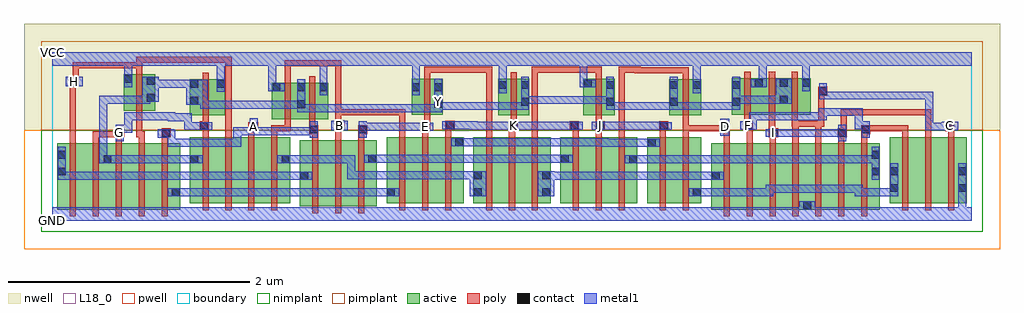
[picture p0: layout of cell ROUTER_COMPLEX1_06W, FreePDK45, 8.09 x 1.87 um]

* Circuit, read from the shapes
.subckt ROUTER_COMPLEX1_06W A B C D E F G GND H I J K VCC Y
M1 n1 H n2 VSUBS nfet w=0.55u l=0.05u
M2 Y G n1 VSUBS nfet w=0.55u l=0.05u
M3 n3 G Y VSUBS nfet w=0.55u l=0.05u
M4 n4 H n3 VSUBS nfet w=0.55u l=0.05u
M5 n5 A n4 VSUBS nfet w=0.55u l=0.05u
M6 n6 G Y VSUBS nfet w=0.55u l=0.05u
M7 n7 H n6 VSUBS nfet w=0.55u l=0.05u
M8 n8 A n7 VSUBS nfet w=0.55u l=0.05u
M9 n9 B n8 VSUBS nfet w=0.55u l=0.05u
M10 n10 A n2 VSUBS nfet w=0.55u l=0.05u
M11 n11 B n10 VSUBS nfet w=0.55u l=0.05u
M12 n12 E n11 VSUBS nfet w=0.55u l=0.05u
M13 n13 B n5 VSUBS nfet w=0.55u l=0.05u
M14 n14 E n13 VSUBS nfet w=0.55u l=0.05u
M15 n15 K n14 VSUBS nfet w=0.55u l=0.05u
M16 n16 E n9 VSUBS nfet w=0.55u l=0.05u
M17 n17 K n16 VSUBS nfet w=0.55u l=0.05u
M18 n18 J n17 VSUBS nfet w=0.55u l=0.05u
M19 n19 K n12 VSUBS nfet w=0.55u l=0.05u
M20 n20 J n19 VSUBS nfet w=0.55u l=0.05u
M21 n21 D n20 VSUBS nfet w=0.55u l=0.05u
M22 n22 J n15 VSUBS nfet w=0.55u l=0.05u
M23 n23 D n22 VSUBS nfet w=0.55u l=0.05u
M24 n24 D n18 VSUBS nfet w=0.55u l=0.05u
M25 n25 F n24 VSUBS nfet w=0.55u l=0.05u
M26 n26 I n25 VSUBS nfet w=0.55u l=0.05u
M27 GND C n26 VSUBS nfet w=0.55u l=0.05u
M28 n27 C GND VSUBS nfet w=0.55u l=0.05u
M29 n28 I n27 VSUBS nfet w=0.55u l=0.05u
M30 n21 F n28 VSUBS nfet w=0.55u l=0.05u
M31 n29 F n23 VSUBS nfet w=0.55u l=0.05u
M32 n30 I n29 VSUBS nfet w=0.55u l=0.05u
M33 GND C n30 VSUBS nfet w=0.55u l=0.05u
M34 Y H VCC n31 pfet w=0.3u l=0.05u
M35 VCC G Y n31 pfet w=0.3u l=0.05u
M36 Y B VCC n31 pfet w=0.3u l=0.05u
M37 VCC A Y n31 pfet w=0.3u l=0.05u
M38 Y E VCC n31 pfet w=0.3u l=0.05u
M39 Y K VCC n31 pfet w=0.3u l=0.05u
M40 Y J VCC n31 pfet w=0.3u l=0.05u
M41 VCC D Y n31 pfet w=0.3u l=0.05u
M42 VCC F Y n31 pfet w=0.3u l=0.05u
M43 Y I VCC n31 pfet w=0.3u l=0.05u
M44 VCC C Y n31 pfet w=0.3u l=0.05u
.ends

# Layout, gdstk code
import gdstk
lib = gdstk.Library(unit=1e-6, precision=1e-09)
def R(c, l, rs):  # rectangles x0, y0, x1, y1
    for r in rs: c.add(gdstk.rectangle(r[:2], r[2:], *l))
def A(c, l, x, y, w, h, nx, ny, dx, dy):  # array of equal rectangles
    R(c, l, [(x+i*dx, y+j*dy, x+i*dx+w, y+j*dy+h) for i in range(nx) for j in range(ny)])
active = (1, 0)
pwell = (2, 0)
nwell = (3, 0)
nimplant = (4, 0)
pimplant = (5, 0)
poly = (9, 0)
contact = (10, 0)
metal1 = (11, 0)
L18_0 = (18, 0)
boundary = (235, 0)

router_complex1_06w = lib.new_cell('ROUTER_COMPLEX1_06W')
A(router_complex1_06w, active, 1.895, 0.145, 0.075, 0.55, 3, 1, 1.44, 0)
A(router_complex1_06w, active, 2.995, 0.145, 0.19, 0.55, 3, 1, 0.72, 0)
R(router_complex1_06w, active, [(0.04,0.092,0.265,0.642), (0.265,0.092,0.495,0.642), (0.42,0.092,0.645,0.642), (0.645,0.092,0.835,0.642), (0.835,0.092,1.06,0.642), (5.46,0.092,5.685,0.642), (5.685,0.092,5.875,0.642), (5.875,0.092,6.065,0.642), (6.065,0.092,6.295,0.642), (6.22,0.092,6.445,0.642), (6.22,0.092,6.295,0.527), (6.445,0.092,6.635,0.642), (6.635,0.092,6.86,0.642), (2.05,0.12,2.275,0.67), (2.275,0.12,2.465,0.67), (2.465,0.12,2.69,0.67), (0.04,0.145,0.145,0.642), (0.42,0.145,0.495,0.642), (0.985,0.145,1.06,0.435), (1.14,0.145,1.365,0.695), (1.14,0.145,1.245,0.695), (1.365,0.145,1.555,0.695), (1.555,0.145,1.745,0.695), (1.745,0.145,1.97,0.695), (2.05,0.145,2.155,0.67), (2.615,0.145,2.69,0.67), (2.77,0.145,2.995,0.695), (2.77,0.145,2.875,0.435), (3.185,0.145,3.41,0.695), (3.49,0.145,3.715,0.695), (3.49,0.145,3.595,0.435), (3.905,0.145,4.13,0.695), (4.055,0.145,4.13,0.642), (4.21,0.145,4.435,0.695), (4.21,0.145,4.315,0.695), (4.625,0.145,4.85,0.695), (4.93,0.145,5.155,0.695), (4.93,0.145,5.035,0.695), (5.155,0.145,5.38,0.695), (5.305,0.145,5.38,0.642), (5.46,0.145,5.565,0.642), (6.785,0.145,6.86,0.642), (6.94,0.145,7.165,0.695), (6.94,0.145,7.045,0.695), (7.165,0.145,7.355,0.695), (7.355,0.145,7.58,0.695), (7.505,0.145,7.58,0.695), (1.82,0.845,2.1,1.145), (2.025,0.845,2.285,1.145), (1.14,0.875,1.215,1.175), (1.14,0.875,1.432,1.175), (5.112,0.875,5.187,1.165), (5.112,0.875,5.38,1.175), (5.305,0.875,5.38,1.175), (3.695,0.877,3.955,1.177), (3.88,0.877,3.955,1.165), (4.4,0.877,4.66,1.177), (4.585,0.877,4.66,1.177), (2.977,0.88,3.237,1.18), (3.162,0.88,3.237,1.147), (1.357,0.882,1.432,1.175), (2.21,0.882,2.285,1.145), (5.632,0.882,5.892,1.182), (5.632,0.882,5.707,1.165), (5.817,0.882,6.1,1.182), (6.025,0.882,6.285,1.182), (6.21,0.882,6.285,1.182), (0.592,0.915,0.852,1.215), (2.025,0.93,2.1,1.145), (0.592,0.952,0.667,1.215), (0.777,0.952,0.852,1.2), (1.82,0.952,1.895,1.145), (2.977,0.952,3.052,1.18), (3.695,0.952,3.77,1.165), (4.4,0.952,4.475,1.177), (6.025,0.952,6.1,1.182), (5.817,1.007,5.892,1.18)])
R(router_complex1_06w, pwell, [(-0.235,-0.235,7.855,0.75)])
R(router_complex1_06w, nwell, [(-0.235,0.75,7.855,1.635)])
R(router_complex1_06w, nimplant, [(-0.09,-0.09,7.71,0.75)])
R(router_complex1_06w, pimplant, [(-0.09,0.75,7.71,1.49)])
A(router_complex1_06w, poly, 0.145, 0.037, 0.05, 0.66, 5, 1, 0.19, 0)
A(router_complex1_06w, poly, 5.565, 0.037, 0.05, 0.66, 7, 1, 0.19, 0)
A(router_complex1_06w, poly, 2.155, 0.065, 0.05, 0.66, 3, 1, 0.19, 0)
A(router_complex1_06w, poly, 1.245, 0.09, 0.05, 0.66, 4, 1, 0.19, 0)
A(router_complex1_06w, poly, 2.875, 0.09, 0.05, 0.66, 3, 1, 0.19, 0)
A(router_complex1_06w, poly, 3.595, 0.09, 0.05, 0.66, 3, 1, 0.19, 0)
A(router_complex1_06w, poly, 4.315, 0.09, 0.05, 0.66, 3, 1, 0.19, 0)
A(router_complex1_06w, poly, 7.045, 0.09, 0.05, 0.66, 3, 1, 0.19, 0)
A(router_complex1_06w, poly, 0.335, 0.647, 0.05, 0.095, 4, 1, 0.19, 0)
R(router_complex1_06w, poly, [(5.035,0.09,5.085,0.75), (5.225,0.09,5.275,0.75), (0.145,0.647,0.195,1.175), (5.565,0.647,5.615,0.785), (5.755,0.647,5.805,0.807), (5.945,0.647,5.995,0.742), (6.135,0.647,6.185,0.832), (6.325,0.647,6.375,0.832), (6.515,0.647,6.565,0.742), (6.705,0.647,6.755,0.77), (2.155,0.675,2.205,0.77), (2.345,0.675,2.395,0.81), (2.535,0.675,2.585,0.77), (0.335,0.692,0.385,0.742), (0.335,0.692,0.385,0.742), (0.335,0.692,0.385,0.742), (0.335,0.692,0.572,0.742), (0.522,0.692,0.597,0.767), (0.697,0.692,0.747,0.91), (0.697,0.692,0.765,0.742), (0.905,0.692,0.98,0.767), (5.94,0.692,6.017,0.767), (6.51,0.692,6.585,0.767), (1.245,0.7,1.295,0.8), (1.435,0.7,1.485,1.362), (1.625,0.7,1.675,0.795), (1.815,0.7,1.865,0.795), (2.875,0.7,2.925,0.927), (3.065,0.7,3.115,0.795), (3.255,0.7,3.305,0.805), (3.595,0.7,3.645,1.28), (3.785,0.7,3.835,0.802), (3.975,0.7,4.025,1.277), (4.315,0.7,4.365,0.802), (4.505,0.7,4.555,0.802), (4.695,0.7,4.745,1.277), (5.035,0.7,5.085,0.8), (5.225,0.7,5.275,0.795), (7.045,0.7,7.095,0.795), (7.235,0.7,7.285,0.927), (7.425,0.7,7.475,0.795), (5.94,0.717,5.99,0.877), (6.535,0.717,6.585,0.767), (6.535,0.717,6.585,0.767), (6.535,0.717,6.585,0.927), (2.13,0.72,2.205,0.795), (2.535,0.72,2.61,0.795), (6.705,0.72,6.78,0.795), (5.54,0.735,5.615,0.81), (1.625,0.745,1.707,0.82), (1.815,0.745,1.975,0.795), (1.925,0.745,1.975,0.84), (2.13,0.745,2.18,0.84), (3.052,0.745,3.132,0.82), (5.225,0.745,5.275,0.795), (5.225,0.745,5.457,0.795), (5.225,0.745,5.275,0.87), (5.407,0.745,5.457,0.795), (5.407,0.745,5.59,0.795), (5.54,0.745,5.59,0.795), (5.54,0.745,5.59,0.795), (6.73,0.745,6.78,0.795), (6.73,0.745,6.78,0.795), (6.73,0.745,7.095,0.795), (7.045,0.745,7.095,0.795), (7.045,0.745,7.095,0.795), (7.045,0.745,7.095,0.795), (7.402,0.745,7.477,0.82), (1.22,0.75,1.295,0.825), (5.03,0.75,5.105,0.825), (3.782,0.752,3.857,0.827), (4.29,0.752,4.365,0.827), (4.505,0.752,4.58,0.827), (3.255,0.755,3.335,0.83), (5.732,0.757,5.807,0.832), (2.345,0.76,2.42,0.835), (3.082,0.77,3.132,0.875), (1.245,0.775,1.295,0.87), (3.8,0.777,3.85,0.872), (4.505,0.777,4.555,0.872), (5.737,0.782,5.787,0.877), (6.13,0.782,6.18,0.877), (6.13,0.782,6.185,0.832), (6.135,0.782,6.185,0.832), (6.135,0.782,6.185,0.832), (6.135,0.782,6.375,0.832), (6.325,0.782,6.375,0.832), (6.325,0.782,6.375,0.832), (6.325,0.782,6.4,0.832), (6.35,0.782,6.4,1.087), (2.345,0.785,2.395,0.927), (1.925,0.79,1.975,1.2), (2.13,0.79,2.18,1.2), (1.245,0.82,1.295,1.23), (5.225,0.82,5.275,1.23), (3.8,0.822,3.85,1.232), (4.505,0.822,4.555,1.232), (3.082,0.825,3.132,1.235), (5.737,0.827,5.787,1.237), (5.94,0.827,5.99,1.237), (6.13,0.827,6.18,1.237), (0.697,0.86,0.747,1.27), (2.345,0.877,2.395,0.927), (2.345,0.877,2.395,0.927), (2.345,0.877,2.395,0.927), (2.345,0.877,2.395,0.927), (2.345,0.877,2.395,0.927), (2.345,0.877,2.395,0.927), (2.345,0.877,2.395,0.927), (2.345,0.877,2.792,0.927), (2.345,0.877,2.395,1.332), (2.742,0.877,2.792,0.927), (2.742,0.877,2.792,0.927), (2.742,0.877,2.792,0.927), (2.742,0.877,2.925,0.927), (2.875,0.877,2.925,0.927), (2.875,0.877,2.925,0.927), (2.875,0.877,2.925,0.927), (2.875,0.877,2.925,0.927), (2.875,0.877,2.925,0.927), (2.875,0.877,2.925,0.927), (2.875,0.877,2.925,0.927), (6.535,0.877,6.585,0.927), (6.535,0.877,6.585,0.927), (6.535,0.877,6.585,0.927), (6.535,0.877,6.962,0.927), (6.912,0.877,6.962,0.927), (6.912,0.877,6.962,0.927), (6.912,0.877,6.962,0.927), (6.912,0.877,7.152,0.927), (7.102,0.877,7.152,0.927), (7.102,0.877,7.152,0.927), (7.102,0.877,7.152,0.927), (7.102,0.877,7.285,0.927), (7.235,0.877,7.285,0.927), (7.235,0.877,7.285,0.927), (7.235,0.877,7.285,0.927), (7.235,0.877,7.285,0.927), (7.235,0.877,7.285,0.927), (7.235,0.877,7.285,0.927), (7.235,0.877,7.285,0.927), (6.35,1.037,6.425,1.112), (0.145,1.125,0.22,1.2), (0.17,1.15,0.22,1.315), (1.925,1.15,1.975,1.332), (5.225,1.18,5.275,1.275), (4.505,1.182,4.555,1.277), (3.082,1.185,3.132,1.28), (0.697,1.22,0.747,1.315), (4.827,1.225,5.01,1.275), (4.827,1.225,4.877,1.277), (4.96,1.225,5.01,1.275), (4.96,1.225,5.01,1.275), (4.96,1.225,5.01,1.275), (4.96,1.225,5.01,1.275), (4.96,1.225,5.01,1.275), (4.96,1.225,5.275,1.275), (5.225,1.225,5.275,1.275), (5.225,1.225,5.275,1.275), (5.225,1.225,5.275,1.275), (3.975,1.227,4.025,1.277), (3.975,1.227,4.025,1.277), (3.975,1.227,4.025,1.277), (3.975,1.227,4.025,1.277), (3.975,1.227,4.025,1.277), (3.975,1.227,4.025,1.277), (3.975,1.227,4.025,1.277), (3.975,1.227,4.16,1.277), (4.11,1.227,4.16,1.277), (4.11,1.227,4.16,1.277), (4.11,1.227,4.16,1.277), (4.11,1.227,4.16,1.277), (4.11,1.227,4.16,1.277), (4.11,1.227,4.16,1.277), (4.11,1.227,4.16,1.277), (4.11,1.227,4.555,1.277), (4.505,1.227,4.555,1.277), (4.505,1.227,4.555,1.277), (4.505,1.227,4.555,1.277), (4.695,1.227,4.745,1.277), (4.695,1.227,4.745,1.277), (4.695,1.227,4.745,1.277), (4.695,1.227,4.745,1.277), (4.695,1.227,4.745,1.277), (4.695,1.227,4.745,1.277), (4.695,1.227,4.745,1.277), (4.695,1.227,4.877,1.277), (3.082,1.23,3.132,1.28), (3.082,1.23,3.132,1.28), (3.082,1.23,3.132,1.28), (3.082,1.23,3.265,1.28), (3.215,1.23,3.265,1.28), (3.215,1.23,3.265,1.28), (3.215,1.23,3.265,1.28), (3.215,1.23,3.645,1.28), (3.595,1.23,3.645,1.28), (3.595,1.23,3.645,1.28), (3.595,1.23,3.645,1.28), (3.595,1.23,3.645,1.28), (3.595,1.23,3.645,1.28), (3.595,1.23,3.645,1.28), (3.595,1.23,3.645,1.28), (3.595,1.23,3.645,1.28), (3.595,1.23,3.645,1.28), (3.595,1.23,3.645,1.28), (3.595,1.23,3.645,1.28), (0.17,1.265,0.22,1.315), (0.17,1.265,0.22,1.315), (0.17,1.265,0.22,1.315), (0.17,1.265,0.22,1.315), (0.17,1.265,0.22,1.315), (0.17,1.265,0.22,1.315), (0.17,1.265,0.22,1.315), (0.17,1.265,0.22,1.315), (0.17,1.265,0.22,1.315), (0.17,1.265,0.352,1.315), (0.302,1.265,0.352,1.315), (0.302,1.265,0.352,1.315), (0.302,1.265,0.352,1.315), (0.302,1.265,0.615,1.315), (0.565,1.265,0.615,1.315), (0.565,1.265,0.615,1.315), (0.565,1.265,0.615,1.315), (0.565,1.265,0.747,1.315), (0.697,1.265,0.747,1.315), (0.697,1.265,0.747,1.315), (0.697,1.265,0.747,1.362), (1.925,1.282,1.975,1.332), (1.925,1.282,1.975,1.332), (1.925,1.282,1.975,1.332), (1.925,1.282,2.107,1.332), (2.057,1.282,2.107,1.332), (2.057,1.282,2.107,1.332), (2.057,1.282,2.107,1.332), (2.057,1.282,2.24,1.332), (2.19,1.282,2.24,1.332), (2.19,1.282,2.395,1.332), (2.345,1.282,2.395,1.332), (0.697,1.312,1.137,1.362), (1.087,1.312,1.137,1.362), (1.087,1.312,1.137,1.362), (1.087,1.312,1.137,1.362), (1.087,1.312,1.352,1.362), (1.302,1.312,1.352,1.362), (1.302,1.312,1.352,1.362), (1.302,1.312,1.352,1.362), (1.302,1.312,1.485,1.362), (1.435,1.312,1.485,1.362), (1.435,1.312,1.485,1.362), (1.435,1.312,1.485,1.362), (1.435,1.312,1.485,1.362), (1.435,1.312,1.485,1.362), (1.435,1.312,1.485,1.362), (1.435,1.312,1.485,1.362), (1.435,1.312,1.485,1.362), (1.435,1.312,1.485,1.362), (1.435,1.312,1.485,1.362), (1.435,1.312,1.485,1.362)])
R(router_complex1_06w, contact, [(6.225,0.097,6.29,0.162), (0.99,0.205,1.055,0.27), (2.775,0.205,2.84,0.27), (3.495,0.205,3.56,0.27), (4.06,0.205,4.125,0.27), (5.31,0.205,5.375,0.27), (6.945,0.24,7.01,0.305), (7.51,0.24,7.575,0.305), (2.055,0.342,2.12,0.407), (5.465,0.342,5.53,0.407), (3.495,0.345,3.56,0.41), (4.06,0.345,4.125,0.41), (0.045,0.377,0.11,0.442), (6.79,0.377,6.855,0.442), (6.945,0.38,7.01,0.445), (7.51,0.38,7.575,0.445), (0.425,0.48,0.49,0.545), (1.145,0.48,1.21,0.545), (1.9,0.48,1.965,0.545), (4.78,0.48,4.845,0.545), (2.62,0.482,2.685,0.547), (4.215,0.482,4.28,0.547), (0.045,0.517,0.11,0.582), (6.79,0.517,6.855,0.582), (4.935,0.617,5,0.682), (3.34,0.62,3.405,0.685), (0.527,0.697,0.592,0.762), (0.91,0.697,0.975,0.762), (5.947,0.697,6.012,0.762), (6.515,0.697,6.58,0.762), (2.135,0.725,2.2,0.79), (2.54,0.725,2.605,0.79), (6.71,0.725,6.775,0.79), (5.545,0.74,5.61,0.805), (1.637,0.75,1.702,0.815), (3.057,0.75,3.122,0.815), (7.407,0.75,7.472,0.815), (1.225,0.755,1.29,0.82), (5.035,0.755,5.1,0.82), (3.787,0.757,3.852,0.822), (4.295,0.757,4.36,0.822), (4.51,0.757,4.575,0.822), (3.265,0.76,3.33,0.825), (5.737,0.762,5.802,0.827), (2.35,0.765,2.415,0.83), (2.03,0.935,2.095,1), (3.167,0.937,3.232,1.002), (3.885,0.955,3.95,1.02), (4.59,0.955,4.655,1.02), (5.117,0.955,5.182,1.02), (5.637,0.955,5.702,1.02), (1.145,0.965,1.21,1.03), (6.03,0.972,6.095,1.037), (0.782,0.99,0.847,1.055), (6.355,1.042,6.42,1.107), (1.825,1.075,1.89,1.14), (2.03,1.075,2.095,1.14), (2.215,1.075,2.28,1.14), (2.982,1.077,3.047,1.142), (3.167,1.077,3.232,1.142), (3.7,1.095,3.765,1.16), (3.885,1.095,3.95,1.16), (4.59,1.095,4.655,1.16), (5.117,1.095,5.182,1.16), (5.31,1.095,5.375,1.16), (5.637,1.095,5.702,1.16), (1.145,1.105,1.21,1.17), (1.362,1.105,1.427,1.17), (4.405,1.107,4.47,1.172), (5.822,1.11,5.887,1.175), (6.03,1.112,6.095,1.177), (6.215,1.112,6.28,1.177), (0.15,1.13,0.215,1.195), (0.782,1.13,0.847,1.195), (0.597,1.145,0.662,1.21)])
R(router_complex1_06w, metal1, [(0,0,7.62,0.115), (6.26,0.05,6.325,0.162), (7.51,0.05,7.575,0.27), (6.19,0.097,6.325,0.162), (0.955,0.205,1.09,0.27), (1.025,0.205,1.29,0.27), (1.225,0.205,1.29,0.27), (1.225,0.205,1.29,0.27), (1.225,0.205,1.29,0.27), (1.225,0.205,1.427,0.27), (1.362,0.205,1.427,0.27), (1.362,0.205,1.565,0.27), (1.5,0.205,1.565,0.27), (1.5,0.205,1.565,0.27), (1.5,0.205,1.565,0.27), (1.5,0.205,1.702,0.27), (1.637,0.205,1.702,0.27), (1.637,0.205,1.702,0.27), (1.637,0.205,1.702,0.27), (1.637,0.205,1.947,0.27), (1.882,0.205,1.947,0.27), (1.882,0.205,1.947,0.27), (1.882,0.205,1.947,0.27), (1.882,0.205,2.137,0.27), (2.072,0.205,2.137,0.27), (2.072,0.205,2.137,0.27), (2.072,0.205,2.137,0.27), (2.072,0.205,2.292,0.27), (2.227,0.205,2.292,0.27), (2.227,0.205,2.292,0.27), (2.227,0.205,2.292,0.27), (2.227,0.205,2.512,0.27), (2.447,0.205,2.512,0.27), (2.447,0.205,2.512,0.27), (2.447,0.205,2.512,0.27), (2.447,0.205,2.805,0.27), (2.74,0.205,2.805,0.27), (2.74,0.205,2.805,0.27), (2.74,0.205,2.875,0.27), (3.46,0.205,3.595,0.41), (4.025,0.205,4.16,0.41), (5.275,0.205,5.41,0.27), (5.345,0.205,5.457,0.27), (5.392,0.205,5.457,0.27), (5.392,0.205,5.602,0.27), (5.537,0.205,5.602,0.27), (5.537,0.205,5.602,0.27), (5.537,0.205,5.602,0.27), (5.537,0.205,5.84,0.27), (5.775,0.205,5.84,0.27), (5.775,0.205,5.84,0.27), (5.775,0.205,5.84,0.27), (5.775,0.205,5.977,0.27), (5.912,0.205,5.977,0.27), (5.912,0.205,5.977,0.27), (5.912,0.205,5.977,0.3), (6.652,0.205,6.717,0.27), (6.652,0.205,6.717,0.27), (6.652,0.205,7.01,0.27), (6.652,0.205,6.717,0.3), (6.945,0.205,7.01,0.48), (6.945,0.205,7.01,0.27), (6.945,0.205,7.01,0.27), (7.51,0.205,7.575,0.48), (5.912,0.235,6.197,0.3), (6.132,0.235,6.197,0.3), (6.132,0.235,6.197,0.3), (6.132,0.235,6.197,0.3), (6.132,0.235,6.367,0.3), (6.302,0.235,6.367,0.3), (6.302,0.235,6.367,0.3), (6.302,0.235,6.367,0.3), (6.302,0.235,6.58,0.3), (6.515,0.235,6.58,0.3), (6.515,0.235,6.717,0.3), (0.045,0.342,0.11,0.617), (0.045,0.342,0.11,0.407), (0.045,0.342,0.11,0.407), (0.045,0.342,0.317,0.407), (0.252,0.342,0.317,0.407), (0.252,0.342,0.317,0.407), (0.252,0.342,0.317,0.407), (0.252,0.342,0.525,0.407), (0.46,0.342,0.525,0.407), (0.46,0.342,0.662,0.407), (0.597,0.342,0.662,0.407), (0.597,0.342,0.662,0.407), (0.597,0.342,0.662,0.407), (0.597,0.342,0.8,0.407), (0.735,0.342,0.8,0.407), (0.735,0.342,0.8,0.407), (0.735,0.342,0.8,0.407), (0.735,0.342,1.02,0.407), (0.955,0.342,1.02,0.407), (0.955,0.342,1.02,0.407), (0.955,0.342,1.02,0.407), (0.955,0.342,1.157,0.407), (1.092,0.342,1.157,0.407), (1.092,0.342,1.427,0.407), (1.362,0.342,1.427,0.407), (1.362,0.342,1.427,0.407), (1.362,0.342,1.427,0.407), (1.362,0.342,1.565,0.407), (1.5,0.342,1.565,0.407), (1.5,0.342,1.565,0.407), (1.5,0.342,1.565,0.407), (1.5,0.342,1.702,0.407), (1.637,0.342,1.702,0.407), (1.637,0.342,1.702,0.407), (1.637,0.342,1.702,0.407), (1.637,0.342,1.84,0.407), (1.775,0.342,1.84,0.407), (1.775,0.342,1.84,0.407), (1.775,0.342,1.84,0.407), (1.775,0.342,2.085,0.407), (2.02,0.342,2.155,0.407), (4.095,0.342,4.297,0.407), (4.232,0.342,4.297,0.407), (4.232,0.342,4.297,0.407), (4.232,0.342,4.297,0.407), (4.232,0.342,4.472,0.407), (4.407,0.342,4.472,0.407), (4.407,0.342,4.61,0.407), (4.545,0.342,4.61,0.407), (4.545,0.342,4.61,0.407), (4.545,0.342,4.61,0.407), (4.545,0.342,4.792,0.407), (4.727,0.342,4.792,0.407), (4.727,0.342,4.792,0.407), (4.727,0.342,4.792,0.407), (4.727,0.342,5.017,0.407), (4.952,0.342,5.017,0.407), (4.952,0.342,5.017,0.407), (4.952,0.342,5.017,0.407), (4.952,0.342,5.182,0.407), (5.117,0.342,5.182,0.407), (5.117,0.342,5.32,0.407), (5.255,0.342,5.32,0.407), (5.255,0.342,5.32,0.407), (5.255,0.342,5.32,0.407), (5.255,0.342,5.495,0.407), (5.43,0.342,5.565,0.407), (6.79,0.342,6.855,0.617), (2.445,0.345,2.51,0.41), (2.445,0.345,2.51,0.41), (2.445,0.345,2.51,0.41), (2.445,0.345,2.742,0.41), (2.445,0.345,2.51,0.545), (2.677,0.345,2.742,0.41), (2.677,0.345,2.742,0.41), (2.677,0.345,2.742,0.41), (2.677,0.345,2.942,0.41), (2.877,0.345,2.942,0.41), (2.877,0.345,2.942,0.41), (2.877,0.345,2.942,0.41), (2.877,0.345,3.08,0.41), (3.015,0.345,3.08,0.41), (3.015,0.345,3.232,0.41), (3.167,0.345,3.232,0.41), (3.167,0.345,3.232,0.41), (3.167,0.345,3.232,0.41), (3.167,0.345,3.525,0.41), (3.46,0.345,3.525,0.41), (3.46,0.345,3.525,0.41), (0.39,0.48,0.455,0.545), (0.39,0.48,0.455,0.545), (0.39,0.48,0.525,0.545), (0.39,0.48,0.455,1.037), (0.46,0.48,0.525,0.545), (0.46,0.48,0.525,0.545), (0.46,0.48,0.525,0.545), (0.46,0.48,0.525,0.545), (0.46,0.48,0.662,0.545), (0.597,0.48,0.662,0.545), (0.597,0.48,0.802,0.545), (0.737,0.48,0.802,0.545), (0.737,0.48,0.802,0.545), (0.737,0.48,0.802,0.545), (0.737,0.48,1.02,0.545), (0.955,0.48,1.02,0.545), (0.955,0.48,1.02,0.545), (0.955,0.48,1.02,0.545), (0.955,0.48,1.175,0.545), (1.11,0.48,1.245,0.545), (1.865,0.48,2,0.545), (1.935,0.48,2.142,0.545), (2.077,0.48,2.142,0.545), (2.077,0.48,2.142,0.545), (2.077,0.48,2.142,0.545), (2.077,0.48,2.372,0.545), (2.307,0.48,2.372,0.545), (2.307,0.48,2.372,0.545), (2.307,0.48,2.372,0.545), (2.307,0.48,2.51,0.545), (2.445,0.48,2.51,0.545), (4.745,0.48,4.88,0.545), (4.815,0.48,5.045,0.545), (4.98,0.48,5.045,0.545), (4.98,0.48,5.182,0.545), (5.117,0.48,5.182,0.545), (5.117,0.48,5.182,0.545), (5.117,0.48,5.182,0.545), (5.117,0.48,5.32,0.545), (5.255,0.48,5.32,0.545), (5.255,0.48,5.457,0.545), (5.392,0.48,5.457,0.545), (5.392,0.48,5.457,0.545), (5.392,0.48,5.457,0.545), (5.392,0.48,5.63,0.545), (5.565,0.48,5.63,0.545), (5.565,0.48,5.63,0.545), (5.565,0.48,5.63,0.545), (5.565,0.48,5.84,0.545), (5.775,0.48,5.84,0.545), (5.775,0.48,5.84,0.545), (5.775,0.48,5.84,0.545), (5.775,0.48,6.06,0.545), (5.995,0.48,6.06,0.545), (5.995,0.48,6.06,0.545), (5.995,0.48,6.06,0.545), (5.995,0.48,6.197,0.545), (6.132,0.48,6.197,0.545), (6.132,0.48,6.197,0.545), (6.132,0.48,6.197,0.545), (6.132,0.48,6.367,0.545), (6.302,0.48,6.367,0.545), (6.302,0.48,6.367,0.545), (6.302,0.48,6.367,0.545), (6.302,0.48,6.58,0.545), (6.515,0.48,6.58,0.545), (6.515,0.48,6.58,0.545), (6.515,0.48,6.58,0.545), (6.515,0.48,6.855,0.545), (6.79,0.48,6.855,0.545), (6.79,0.48,6.855,0.545), (2.585,0.482,2.72,0.547), (2.655,0.482,2.742,0.547), (2.677,0.482,2.742,0.547), (2.677,0.482,2.942,0.547), (2.877,0.482,2.942,0.547), (2.877,0.482,2.942,0.547), (2.877,0.482,2.942,0.547), (2.877,0.482,3.082,0.547), (3.017,0.482,3.082,0.547), (3.017,0.482,3.232,0.547), (3.167,0.482,3.232,0.547), (3.167,0.482,3.232,0.547), (3.167,0.482,3.232,0.547), (3.167,0.482,3.525,0.547), (3.46,0.482,3.525,0.547), (3.46,0.482,3.525,0.547), (3.46,0.482,3.525,0.547), (3.46,0.482,3.662,0.547), (3.597,0.482,3.662,0.547), (3.597,0.482,3.662,0.547), (3.597,0.482,3.662,0.547), (3.597,0.482,3.8,0.547), (3.735,0.482,3.8,0.547), (3.735,0.482,3.8,0.547), (3.735,0.482,3.8,0.547), (3.735,0.482,4.087,0.547), (4.022,0.482,4.087,0.547), (4.022,0.482,4.087,0.547), (4.022,0.482,4.087,0.547), (4.022,0.482,4.245,0.547), (4.18,0.482,4.315,0.547), (0.955,0.617,1.02,0.682), (0.955,0.617,1.02,0.755), (0.955,0.617,1.29,0.682), (1.225,0.617,1.29,0.682), (1.225,0.617,1.29,0.682), (1.225,0.617,1.29,0.682), (1.225,0.617,1.427,0.682), (1.362,0.617,1.427,0.682), (1.362,0.617,1.565,0.682), (1.5,0.617,1.565,0.682), (1.5,0.617,1.565,0.682), (1.5,0.617,1.565,0.682), (1.5,0.617,1.565,0.777), (4.545,0.617,4.827,0.682), (4.545,0.617,4.61,0.685), (4.762,0.617,4.827,0.682), (4.762,0.617,4.827,0.682), (4.762,0.617,4.827,0.682), (4.762,0.617,4.965,0.682), (4.9,0.617,5.035,0.682), (3.305,0.62,3.44,0.685), (3.375,0.62,3.525,0.685), (3.46,0.62,3.525,0.685), (3.46,0.62,3.662,0.685), (3.597,0.62,3.662,0.685), (3.597,0.62,3.662,0.685), (3.597,0.62,3.662,0.685), (3.597,0.62,3.95,0.685), (3.885,0.62,3.95,0.685), (3.885,0.62,3.95,0.685), (3.885,0.62,3.95,0.685), (3.885,0.62,4.087,0.685), (4.022,0.62,4.087,0.685), (4.022,0.62,4.087,0.685), (4.022,0.62,4.087,0.685), (4.022,0.62,4.297,0.685), (4.232,0.62,4.297,0.685), (4.232,0.62,4.297,0.685), (4.232,0.62,4.297,0.685), (4.232,0.62,4.472,0.685), (4.407,0.62,4.472,0.685), (4.407,0.62,4.61,0.685), (4.545,0.62,4.61,0.685), (4.545,0.62,4.61,0.685), (0.527,0.662,0.592,0.797), (6.515,0.662,6.58,0.797), (0.875,0.69,1.01,0.762), (0.945,0.69,1.02,0.755), (0.955,0.69,1.02,0.755), (2.135,0.69,2.2,0.825), (2.54,0.69,2.605,0.825), (6.71,0.69,6.775,0.825), (5.912,0.697,6.047,0.762), (5.982,0.697,6.047,0.762), (5.982,0.697,6.047,0.762), (5.982,0.697,6.23,0.762), (6.165,0.697,6.23,0.762), (6.165,0.697,6.23,0.762), (6.165,0.697,6.23,0.762), (6.165,0.697,6.442,0.762), (6.377,0.697,6.442,0.762), (6.377,0.697,6.442,0.762), (6.377,0.697,6.442,0.762), (6.377,0.697,6.58,0.762), (5.537,0.705,5.612,0.847), (1.5,0.712,1.565,0.777), (1.5,0.712,1.702,0.777), (1.637,0.712,1.702,0.777), (1.637,0.712,1.702,0.777), (1.637,0.712,1.84,0.777), (1.637,0.712,1.702,0.85), (1.775,0.712,1.84,0.777), (1.775,0.712,1.84,0.777), (1.775,0.712,1.84,0.777), (1.775,0.712,2.085,0.777), (2.02,0.712,2.085,0.777), (2.02,0.712,2.2,0.777), (0.527,0.732,0.662,0.797), (0.597,0.732,0.662,0.797), (0.597,0.732,0.662,0.9), (2.54,0.747,2.742,0.812), (2.677,0.747,2.742,0.812), (2.677,0.747,2.742,0.812), (2.677,0.747,2.742,0.812), (2.677,0.747,2.942,0.812), (2.877,0.747,2.942,0.812), (2.877,0.747,2.942,0.812), (2.877,0.747,2.942,0.812), (2.877,0.747,3.087,0.812), (3.022,0.747,3.157,0.815), (7.235,0.75,7.3,0.815), (7.235,0.75,7.3,0.815), (7.235,0.75,7.3,0.815), (7.235,0.75,7.437,0.815), (7.235,0.75,7.3,1.072), (7.372,0.75,7.437,0.815), (7.372,0.75,7.437,0.815), (7.372,0.75,7.437,0.815), (7.372,0.75,7.437,0.815), (7.372,0.75,7.507,0.822), (2.312,0.752,2.45,0.83), (1.092,0.755,1.157,0.82), (1.092,0.755,1.255,0.82), (1.092,0.755,1.157,0.892), (1.19,0.755,1.325,0.82), (4.98,0.755,5.045,0.82), (4.98,0.755,5.135,0.82), (4.98,0.755,5.045,0.822), (3.46,0.757,3.525,0.822), (3.46,0.757,3.525,0.822), (3.46,0.757,3.662,0.822), (3.46,0.757,3.525,0.825), (3.597,0.757,3.662,0.822), (3.597,0.757,3.662,0.822), (3.597,0.757,3.662,0.822), (3.597,0.757,3.817,0.822), (3.752,0.757,3.887,0.822), (3.822,0.757,3.887,0.822), (3.822,0.757,3.887,0.822), (3.822,0.757,4.087,0.822), (4.022,0.757,4.087,0.822), (4.022,0.757,4.087,0.822), (4.022,0.757,4.087,0.822), (4.022,0.757,4.225,0.822), (4.16,0.757,4.225,0.822), (4.16,0.757,4.325,0.822), (4.26,0.757,4.395,0.822), (4.472,0.757,4.61,0.822), (4.545,0.757,4.61,0.822), (4.545,0.757,4.61,0.822), (4.545,0.757,4.827,0.822), (4.762,0.757,4.827,0.822), (4.762,0.757,4.827,0.822), (4.762,0.757,4.827,0.822), (4.762,0.757,5.045,0.822), (5.702,0.757,5.84,0.827), (3.23,0.76,3.365,0.825), (3.3,0.76,3.525,0.825), (6.652,0.76,6.717,0.825), (6.652,0.76,6.775,0.825), (6.652,0.76,6.717,0.935), (5.775,0.762,5.84,0.827), (5.775,0.762,5.84,0.827), (5.775,0.762,5.84,0.9), (0.955,0.827,1.157,0.892), (0.955,0.827,1.02,0.9), (1.092,0.827,1.157,0.892), (0.597,0.835,0.662,0.9), (0.597,0.835,0.8,0.9), (0.735,0.835,0.8,0.9), (0.735,0.835,0.8,0.9), (0.735,0.835,0.8,0.9), (0.735,0.835,1.02,0.9), (0.955,0.835,1.02,0.9), (0.955,0.835,1.02,0.9), (5.775,0.835,5.84,0.9), (5.775,0.835,6.06,0.9), (5.995,0.835,6.06,0.9), (5.995,0.835,6.06,0.9), (5.995,0.835,6.06,0.9), (5.995,0.835,6.23,0.9), (6.165,0.835,6.23,0.9), (6.165,0.835,6.23,0.9), (6.165,0.835,6.23,0.9), (6.165,0.835,6.417,0.9), (6.352,0.835,6.417,0.935), (6.352,0.87,6.417,0.935), (6.352,0.87,6.417,0.935), (6.352,0.87,6.58,0.935), (6.515,0.87,6.58,0.935), (6.515,0.87,6.717,0.935), (6.652,0.87,6.717,0.935), (2.03,0.9,2.095,1.175), (2.03,0.902,2.155,0.967), (2.09,0.902,2.155,0.967), (2.09,0.902,2.372,0.967), (2.307,0.902,2.372,0.967), (2.307,0.902,2.372,0.967), (2.307,0.902,2.372,0.967), (2.307,0.902,2.512,0.967), (2.447,0.902,2.512,0.967), (2.447,0.902,2.512,0.967), (2.447,0.902,2.512,0.967), (2.447,0.902,2.742,0.967), (2.677,0.902,2.742,0.967), (2.677,0.902,2.742,0.967), (2.677,0.902,2.742,0.967), (2.677,0.902,2.942,0.967), (2.877,0.902,2.942,0.967), (2.877,0.902,3.08,0.967), (3.015,0.902,3.08,0.967), (3.015,0.902,3.08,0.967), (3.015,0.902,3.08,0.967), (3.015,0.902,3.232,0.967), (3.167,0.902,3.232,1.177), (3.167,0.902,3.232,0.967), (3.167,0.902,3.232,0.967), (3.167,0.92,3.232,0.985), (3.167,0.92,3.232,0.985), (3.167,0.92,3.502,0.985), (3.437,0.92,3.502,0.985), (3.437,0.92,3.502,0.985), (3.437,0.92,3.502,0.985), (3.437,0.92,3.502,0.985), (3.437,0.92,3.502,0.985), (3.437,0.92,3.662,0.985), (3.597,0.92,3.662,0.985), (3.597,0.92,3.662,0.985), (3.597,0.92,3.662,0.985), (3.597,0.92,3.95,0.985), (3.885,0.92,3.95,1.195), (3.885,0.92,3.95,0.985), (3.885,0.92,3.95,0.985), (4.59,0.92,4.655,1.195), (4.59,0.92,4.827,0.985), (4.762,0.92,4.827,0.985), (4.762,0.92,4.827,0.985), (4.762,0.92,4.827,0.985), (4.762,0.92,5.045,0.985), (4.98,0.92,5.045,0.985), (4.98,0.92,5.182,0.985), (5.117,0.92,5.182,1.195), (5.117,0.92,5.182,0.985), (5.117,0.92,5.182,0.985), (5.117,0.92,5.32,0.985), (5.255,0.92,5.32,0.985), (5.255,0.92,5.457,0.985), (5.392,0.92,5.457,0.985), (5.392,0.92,5.457,0.985), (5.392,0.92,5.457,0.985), (5.392,0.92,5.595,0.985), (5.53,0.92,5.595,0.985), (5.53,0.92,5.702,0.985), (5.637,0.92,5.702,1.195), (1.225,0.932,1.427,0.997), (1.225,0.932,1.29,1.03), (1.362,0.932,1.427,0.997), (1.362,0.932,1.565,0.997), (1.5,0.932,1.565,0.997), (1.5,0.932,1.565,0.997), (1.5,0.932,1.565,0.997), (1.5,0.932,1.702,0.997), (1.637,0.932,1.702,0.997), (1.637,0.932,1.702,0.997), (1.637,0.932,1.702,0.997), (1.637,0.932,1.84,0.997), (1.775,0.932,1.84,0.997), (1.775,0.932,1.84,0.997), (1.775,0.932,1.84,0.997), (1.775,0.932,2.095,0.997), (1.11,0.965,1.29,1.17), (1.225,0.965,1.29,1.03), (3.885,0.97,4.087,1.035), (4.022,0.97,4.087,1.035), (4.022,0.97,4.087,1.035), (4.022,0.97,4.087,1.035), (4.022,0.97,4.297,1.035), (4.232,0.97,4.297,1.035), (4.232,0.97,4.297,1.035), (4.232,0.97,4.297,1.035), (4.232,0.97,4.472,1.035), (4.407,0.97,4.472,1.035), (4.407,0.97,4.655,1.035), (4.59,0.97,4.655,1.035), (4.59,0.97,4.655,1.035), (0.39,0.972,0.455,1.037), (0.39,0.972,0.455,1.037), (0.39,0.972,0.455,1.037), (0.39,0.972,0.455,1.037), (0.39,0.972,0.455,1.037), (0.39,0.972,0.662,1.037), (0.597,0.972,0.662,1.037), (0.597,0.972,0.802,1.037), (0.737,0.972,0.802,1.037), (0.737,0.972,0.812,1.037), (0.747,0.972,0.812,1.037), (0.747,0.972,0.812,1.055), (5.637,0.972,5.84,1.037), (5.775,0.972,5.84,1.037), (5.775,0.972,5.84,1.037), (5.775,0.972,5.84,1.037), (5.775,0.972,6.06,1.037), (5.995,0.972,6.06,1.037), (5.995,0.972,6.06,1.037), (5.995,0.972,6.13,1.177), (0.747,0.99,0.882,1.195), (6.355,1.007,6.42,1.072), (6.355,1.007,6.42,1.072), (6.355,1.007,6.42,1.142), (6.355,1.007,6.58,1.072), (6.515,1.007,6.58,1.072), (6.515,1.007,6.717,1.072), (6.652,1.007,6.717,1.072), (6.652,1.007,6.717,1.072), (6.652,1.007,6.717,1.072), (6.652,1.007,7.025,1.072), (6.96,1.007,7.025,1.072), (6.96,1.007,7.162,1.072), (7.097,1.007,7.162,1.072), (7.097,1.007,7.162,1.072), (7.097,1.007,7.162,1.072), (7.097,1.007,7.3,1.072), (7.235,1.007,7.3,1.072), (2.215,1.04,2.28,1.175), (2.982,1.042,3.047,1.177), (3.7,1.06,3.765,1.195), (5.31,1.06,5.375,1.195), (1.362,1.07,1.427,1.205), (1.79,1.075,1.855,1.35), (1.79,1.075,1.925,1.14), (6.215,1.077,6.28,1.212), (0.817,1.105,1.02,1.17), (0.955,1.105,1.02,1.17), (0.955,1.105,1.02,1.17), (0.955,1.105,1.02,1.17), (0.955,1.105,1.175,1.17), (1.11,1.105,1.175,1.17), (1.11,1.105,1.175,1.17), (4.37,1.107,4.505,1.172), (4.37,1.107,4.435,1.35), (0.597,1.11,0.662,1.245), (2.215,1.11,2.28,1.35), (5.787,1.11,5.922,1.175), (5.857,1.11,5.922,1.35), (2.982,1.112,3.047,1.35), (0.112,1.117,0.25,1.195), (3.7,1.13,3.765,1.35), (3.7,1.13,3.765,1.195), (3.7,1.13,3.765,1.195), (5.31,1.13,5.375,1.35), (1.362,1.14,1.427,1.35), (6.215,1.147,6.28,1.35), (0.597,1.18,0.662,1.245), (0.597,1.18,0.662,1.245), (0.597,1.18,0.662,1.35), (0,1.285,7.62,1.4), (1.362,1.285,1.427,1.35), (1.362,1.285,1.427,1.35), (1.79,1.285,1.855,1.35), (1.79,1.285,1.855,1.35), (2.215,1.285,2.28,1.35), (2.215,1.285,2.28,1.35), (2.982,1.285,3.047,1.35), (2.982,1.285,3.047,1.35), (4.37,1.285,4.435,1.35), (4.37,1.285,4.435,1.35), (5.31,1.285,5.375,1.35), (5.31,1.285,5.375,1.35), (5.857,1.285,5.922,1.35), (5.857,1.285,5.922,1.35), (6.215,1.285,6.28,1.35), (6.215,1.285,6.28,1.35)])
R(router_complex1_06w, L18_0, [(0,0,7.62,0.115), (6.26,0.05,6.325,0.162), (7.51,0.05,7.575,0.27), (6.19,0.097,6.325,0.162), (7.51,0.205,7.575,0.48), (0.39,0.48,0.455,0.545), (0.39,0.48,0.455,0.545), (0.39,0.48,0.525,0.545), (0.39,0.48,0.455,1.037), (0.46,0.48,0.525,0.545), (0.46,0.48,0.525,0.545), (0.46,0.48,0.525,0.545), (0.46,0.48,0.525,0.545), (0.46,0.48,0.662,0.545), (0.597,0.48,0.662,0.545), (0.597,0.48,0.802,0.545), (0.737,0.48,0.802,0.545), (0.737,0.48,0.802,0.545), (0.737,0.48,0.802,0.545), (0.737,0.48,1.02,0.545), (0.955,0.48,1.02,0.545), (0.955,0.48,1.02,0.545), (0.955,0.48,1.02,0.545), (0.955,0.48,1.175,0.545), (1.11,0.48,1.245,0.545), (0.955,0.617,1.02,0.682), (0.955,0.617,1.02,0.755), (0.955,0.617,1.29,0.682), (1.225,0.617,1.29,0.682), (1.225,0.617,1.29,0.682), (1.225,0.617,1.29,0.682), (1.225,0.617,1.427,0.682), (1.362,0.617,1.427,0.682), (1.362,0.617,1.565,0.682), (1.5,0.617,1.565,0.682), (1.5,0.617,1.565,0.682), (1.5,0.617,1.565,0.682), (1.5,0.617,1.565,0.777), (0.527,0.662,0.592,0.797), (6.515,0.662,6.58,0.797), (0.875,0.69,1.01,0.762), (0.945,0.69,1.02,0.755), (0.955,0.69,1.02,0.755), (2.135,0.69,2.2,0.825), (2.54,0.69,2.605,0.825), (6.71,0.69,6.775,0.825), (0.527,0.697,0.592,0.762), (5.912,0.697,6.047,0.762), (5.947,0.697,6.012,0.762), (5.982,0.697,6.047,0.762), (5.982,0.697,6.047,0.762), (5.982,0.697,6.23,0.762), (6.165,0.697,6.23,0.762), (6.165,0.697,6.23,0.762), (6.165,0.697,6.23,0.762), (6.165,0.697,6.442,0.762), (6.377,0.697,6.442,0.762), (6.377,0.697,6.442,0.762), (6.377,0.697,6.442,0.762), (6.377,0.697,6.58,0.762), (5.537,0.705,5.612,0.847), (1.5,0.712,1.565,0.777), (1.5,0.712,1.702,0.777), (1.637,0.712,1.702,0.777), (1.637,0.712,1.702,0.777), (1.637,0.712,1.84,0.777), (1.637,0.712,1.702,0.85), (1.775,0.712,1.84,0.777), (1.775,0.712,1.84,0.777), (1.775,0.712,1.84,0.777), (1.775,0.712,2.085,0.777), (2.02,0.712,2.085,0.777), (2.02,0.712,2.2,0.777), (0.527,0.732,0.662,0.797), (0.597,0.732,0.662,0.797), (0.597,0.732,0.662,0.9), (1.637,0.747,1.702,0.812), (2.54,0.747,2.742,0.812), (2.677,0.747,2.742,0.812), (2.677,0.747,2.742,0.812), (2.677,0.747,2.742,0.812), (2.677,0.747,2.942,0.812), (2.877,0.747,2.942,0.812), (2.877,0.747,2.942,0.812), (2.877,0.747,2.942,0.812), (2.877,0.747,3.087,0.812), (3.022,0.747,3.157,0.815), (3.057,0.747,3.122,0.812), (5.547,0.747,5.612,0.812), (7.235,0.75,7.3,0.815), (7.235,0.75,7.3,0.815), (7.235,0.75,7.3,0.815), (7.235,0.75,7.437,0.815), (7.235,0.75,7.3,1.072), (7.372,0.75,7.437,0.815), (7.372,0.75,7.437,0.815), (7.372,0.75,7.437,0.815), (7.372,0.75,7.437,0.815), (7.372,0.75,7.507,0.822), (2.312,0.752,2.45,0.83), (1.092,0.755,1.157,0.82), (1.092,0.755,1.157,0.892), (1.092,0.755,1.255,0.82), (1.19,0.755,1.325,0.82), (4.98,0.755,5.045,0.82), (4.98,0.755,5.045,0.822), (4.98,0.755,5.135,0.82), (2.347,0.757,2.412,0.822), (3.46,0.757,3.525,0.822), (3.46,0.757,3.525,0.822), (3.46,0.757,3.662,0.822), (3.46,0.757,3.525,0.825), (3.597,0.757,3.662,0.822), (3.597,0.757,3.662,0.822), (3.597,0.757,3.662,0.822), (3.597,0.757,3.817,0.822), (3.752,0.757,3.887,0.822), (3.787,0.757,3.852,0.822), (3.822,0.757,3.887,0.822), (3.822,0.757,3.887,0.822), (3.822,0.757,4.087,0.822), (4.022,0.757,4.087,0.822), (4.022,0.757,4.087,0.822), (4.022,0.757,4.087,0.822), (4.022,0.757,4.225,0.822), (4.16,0.757,4.225,0.822), (4.16,0.757,4.325,0.822), (4.26,0.757,4.395,0.822), (4.472,0.757,4.61,0.822), (4.507,0.757,4.572,0.822), (4.545,0.757,4.61,0.822), (4.545,0.757,4.61,0.822), (4.545,0.757,4.827,0.822), (4.762,0.757,4.827,0.822), (4.762,0.757,4.827,0.822), (4.762,0.757,4.827,0.822), (4.762,0.757,5.045,0.822), (5.702,0.757,5.84,0.827), (5.737,0.757,5.802,0.822), (7.407,0.757,7.472,0.822), (3.23,0.76,3.365,0.825), (3.3,0.76,3.525,0.825), (6.652,0.76,6.717,0.825), (6.652,0.76,6.717,0.935), (6.652,0.76,6.775,0.825), (5.775,0.762,5.84,0.827), (5.775,0.762,5.84,0.827), (5.775,0.762,5.84,0.9), (0.955,0.827,1.157,0.892), (0.955,0.827,1.02,0.9), (1.092,0.827,1.157,0.892), (0.597,0.835,0.662,0.9), (0.597,0.835,0.8,0.9), (0.735,0.835,0.8,0.9), (0.735,0.835,0.8,0.9), (0.735,0.835,0.8,0.9), (0.735,0.835,1.02,0.9), (0.955,0.835,1.02,0.9), (0.955,0.835,1.02,0.9), (5.775,0.835,5.84,0.9), (5.775,0.835,6.06,0.9), (5.995,0.835,6.06,0.9), (5.995,0.835,6.06,0.9), (5.995,0.835,6.06,0.9), (5.995,0.835,6.23,0.9), (6.165,0.835,6.23,0.9), (6.165,0.835,6.23,0.9), (6.165,0.835,6.23,0.9), (6.165,0.835,6.417,0.9), (6.352,0.835,6.417,0.935), (6.352,0.87,6.417,0.935), (6.352,0.87,6.417,0.935), (6.352,0.87,6.58,0.935), (6.515,0.87,6.58,0.935), (6.515,0.87,6.717,0.935), (6.652,0.87,6.717,0.935), (2.03,0.9,2.095,1.175), (2.03,0.902,2.155,0.967), (2.09,0.902,2.155,0.967), (2.09,0.902,2.372,0.967), (2.307,0.902,2.372,0.967), (2.307,0.902,2.372,0.967), (2.307,0.902,2.372,0.967), (2.307,0.902,2.512,0.967), (2.447,0.902,2.512,0.967), (2.447,0.902,2.512,0.967), (2.447,0.902,2.512,0.967), (2.447,0.902,2.742,0.967), (2.677,0.902,2.742,0.967), (2.677,0.902,2.742,0.967), (2.677,0.902,2.742,0.967), (2.677,0.902,2.942,0.967), (2.877,0.902,2.942,0.967), (2.877,0.902,3.08,0.967), (3.015,0.902,3.08,0.967), (3.015,0.902,3.08,0.967), (3.015,0.902,3.08,0.967), (3.015,0.902,3.232,0.967), (3.167,0.902,3.232,0.967), (3.167,0.902,3.232,0.967), (3.167,0.902,3.232,1.177), (3.167,0.92,3.232,0.985), (3.167,0.92,3.232,0.985), (3.167,0.92,3.502,0.985), (3.437,0.92,3.502,0.985), (3.437,0.92,3.502,0.985), (3.437,0.92,3.502,0.985), (3.437,0.92,3.502,0.985), (3.437,0.92,3.502,0.985), (3.437,0.92,3.662,0.985), (3.597,0.92,3.662,0.985), (3.597,0.92,3.662,0.985), (3.597,0.92,3.662,0.985), (3.597,0.92,3.95,0.985), (3.885,0.92,3.95,0.985), (3.885,0.92,3.95,0.985), (3.885,0.92,3.95,1.195), (4.59,0.92,4.655,1.195), (4.59,0.92,4.827,0.985), (4.762,0.92,4.827,0.985), (4.762,0.92,4.827,0.985), (4.762,0.92,4.827,0.985), (4.762,0.92,5.045,0.985), (4.98,0.92,5.045,0.985), (4.98,0.92,5.182,0.985), (5.117,0.92,5.182,0.985), (5.117,0.92,5.182,0.985), (5.117,0.92,5.32,0.985), (5.117,0.92,5.182,1.195), (5.255,0.92,5.32,0.985), (5.255,0.92,5.457,0.985), (5.392,0.92,5.457,0.985), (5.392,0.92,5.457,0.985), (5.392,0.92,5.457,0.985), (5.392,0.92,5.595,0.985), (5.53,0.92,5.595,0.985), (5.53,0.92,5.702,0.985), (5.637,0.92,5.702,1.195), (1.225,0.932,1.427,0.997), (1.225,0.932,1.29,1.03), (1.362,0.932,1.427,0.997), (1.362,0.932,1.565,0.997), (1.5,0.932,1.565,0.997), (1.5,0.932,1.565,0.997), (1.5,0.932,1.565,0.997), (1.5,0.932,1.702,0.997), (1.637,0.932,1.702,0.997), (1.637,0.932,1.702,0.997), (1.637,0.932,1.702,0.997), (1.637,0.932,1.84,0.997), (1.775,0.932,1.84,0.997), (1.775,0.932,1.84,0.997), (1.775,0.932,1.84,0.997), (1.775,0.932,2.095,0.997), (3.167,0.957,3.232,1.022), (1.11,0.965,1.29,1.17), (1.225,0.965,1.29,1.03), (3.885,0.97,4.087,1.035), (4.022,0.97,4.087,1.035), (4.022,0.97,4.087,1.035), (4.022,0.97,4.087,1.035), (4.022,0.97,4.297,1.035), (4.232,0.97,4.297,1.035), (4.232,0.97,4.297,1.035), (4.232,0.97,4.297,1.035), (4.232,0.97,4.472,1.035), (4.407,0.97,4.472,1.035), (4.407,0.97,4.655,1.035), (4.59,0.97,4.655,1.035), (4.59,0.97,4.655,1.035), (0.39,0.972,0.455,1.037), (0.39,0.972,0.455,1.037), (0.39,0.972,0.455,1.037), (0.39,0.972,0.455,1.037), (0.39,0.972,0.455,1.037), (0.39,0.972,0.662,1.037), (0.597,0.972,0.662,1.037), (0.597,0.972,0.802,1.037), (0.737,0.972,0.802,1.037), (0.737,0.972,0.812,1.037), (0.747,0.972,0.812,1.037), (0.747,0.972,0.812,1.055), (5.637,0.972,5.84,1.037), (5.775,0.972,5.84,1.037), (5.775,0.972,5.84,1.037), (5.775,0.972,5.84,1.037), (5.775,0.972,6.06,1.037), (5.995,0.972,6.06,1.037), (5.995,0.972,6.06,1.037), (5.995,0.972,6.13,1.177), (0.747,0.99,0.882,1.195), (6.355,1.007,6.42,1.072), (6.355,1.007,6.42,1.072), (6.355,1.007,6.42,1.142), (6.355,1.007,6.58,1.072), (6.515,1.007,6.58,1.072), (6.515,1.007,6.717,1.072), (6.652,1.007,6.717,1.072), (6.652,1.007,6.717,1.072), (6.652,1.007,6.717,1.072), (6.652,1.007,7.025,1.072), (6.96,1.007,7.025,1.072), (6.96,1.007,7.162,1.072), (7.097,1.007,7.162,1.072), (7.097,1.007,7.162,1.072), (7.097,1.007,7.162,1.072), (7.097,1.007,7.3,1.072), (7.235,1.007,7.3,1.072), (2.215,1.04,2.28,1.175), (2.982,1.042,3.047,1.177), (3.7,1.06,3.765,1.195), (5.31,1.06,5.375,1.195), (1.362,1.07,1.427,1.205), (1.79,1.075,1.925,1.14), (1.79,1.075,1.855,1.35), (6.215,1.077,6.28,1.212), (0.817,1.105,1.02,1.17), (0.955,1.105,1.02,1.17), (0.955,1.105,1.02,1.17), (0.955,1.105,1.02,1.17), (0.955,1.105,1.175,1.17), (1.11,1.105,1.175,1.17), (1.11,1.105,1.175,1.17), (4.37,1.107,4.505,1.172), (4.37,1.107,4.435,1.35), (0.597,1.11,0.662,1.245), (2.215,1.11,2.28,1.35), (5.787,1.11,5.922,1.175), (5.857,1.11,5.922,1.35), (2.982,1.112,3.047,1.35), (0.112,1.117,0.25,1.195), (0.147,1.127,0.212,1.192), (3.7,1.13,3.765,1.195), (3.7,1.13,3.765,1.195), (3.7,1.13,3.765,1.35), (5.31,1.13,5.375,1.35), (1.362,1.14,1.427,1.35), (6.215,1.147,6.28,1.35), (0.597,1.18,0.662,1.245), (0.597,1.18,0.662,1.245), (0.597,1.18,0.662,1.35), (0,1.285,7.62,1.4), (1.362,1.285,1.427,1.35), (1.362,1.285,1.427,1.35), (1.79,1.285,1.855,1.35), (1.79,1.285,1.855,1.35), (2.215,1.285,2.28,1.35), (2.215,1.285,2.28,1.35), (2.982,1.285,3.047,1.35), (2.982,1.285,3.047,1.35), (4.37,1.285,4.435,1.35), (4.37,1.285,4.435,1.35), (5.31,1.285,5.375,1.35), (5.31,1.285,5.375,1.35), (5.857,1.285,5.922,1.35), (5.857,1.285,5.922,1.35), (6.215,1.285,6.28,1.35), (6.215,1.285,6.28,1.35)])
R(router_complex1_06w, boundary, [(0,0,7.62,1.4)])
router_complex1_06w.add(gdstk.Label('A', (1.67,0.78), layer=11, texttype=0))
router_complex1_06w.add(gdstk.Label('B', (2.38,0.79), layer=11, texttype=0))
router_complex1_06w.add(gdstk.Label('C', (7.44,0.79), layer=11, texttype=0))
router_complex1_06w.add(gdstk.Label('D', (5.58,0.78), layer=11, texttype=0))
router_complex1_06w.add(gdstk.Label('E', (3.09,0.78), layer=11, texttype=0))
router_complex1_06w.add(gdstk.Label('F', (5.77,0.79), layer=11, texttype=0))
router_complex1_06w.add(gdstk.Label('G', (0.56,0.73), layer=11, texttype=0))
router_complex1_06w.add(gdstk.Label('H', (0.18,1.16), layer=11, texttype=0))
router_complex1_06w.add(gdstk.Label('I', (5.98,0.73), layer=11, texttype=0))
router_complex1_06w.add(gdstk.Label('J', (4.54,0.79), layer=11, texttype=0))
router_complex1_06w.add(gdstk.Label('K', (3.82,0.79), layer=11, texttype=0))
router_complex1_06w.add(gdstk.Label('Y', (3.2,0.99), layer=11, texttype=0))
router_complex1_06w.add(gdstk.Label('VCC', (0,1.4), layer=11, texttype=0))
router_complex1_06w.add(gdstk.Label('GND', (0,0), layer=11, texttype=0))

lib.write_gds('ROUTER_COMPLEX1_06W.gds')
